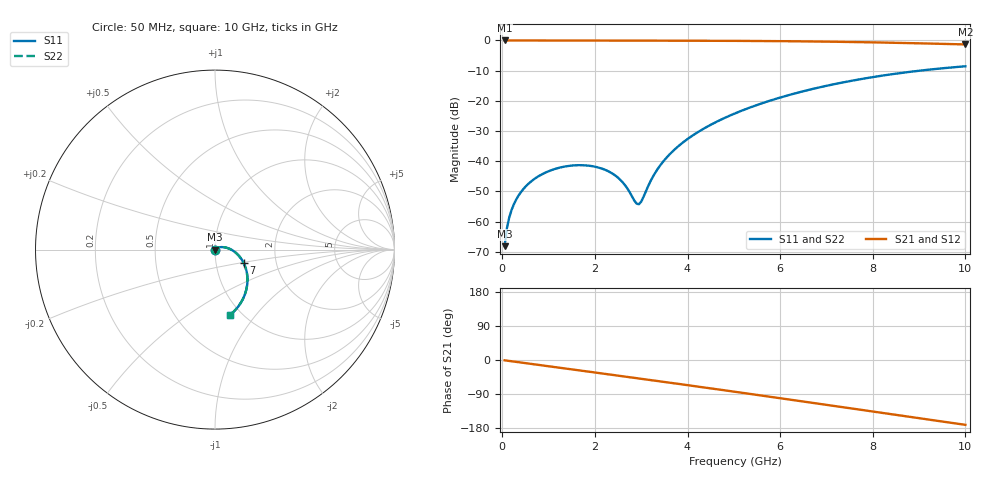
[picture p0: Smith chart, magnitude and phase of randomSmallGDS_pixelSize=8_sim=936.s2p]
! freq	dB(S11)	phase(S11)	dB(S12)	phase(S12)
!  dB(S21)	phase(S21)	dB(S22)	phase(S22)
!S-par simulation data
#  GHz  S  DB  R 50
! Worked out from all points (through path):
!   200 points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, 50 MHz to 10 GHz, reference 50 ohm
!   highest |S21| = 0.00 dB at 50 MHz (marker M1); lowest = -1.3 dB at 10 GHz (marker M2)
!   group delay of S21, straight-line fit = 47.7 ps
!   lowest |S11| = -68.1 dB at 50 MHz (marker M3), VSWR 1.00, Z = 50 - j0.0391 ohm
!   |S11| at or under -10 dB: start of sweep to 9.018 GHz
!   |S22| runs from -68.1 to -8.6 dB; largest |S21 - S12| = 0
!   S11 on the Smith chart (normalised r, x): 50 MHz: 1.00, -0.00; 7 GHz: 1.36, -0.21; 10 GHz: 0.89, -0.75
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0.05  -68.14 -87.0  -0.00 -0.8  -0.00 -0.8  -68.14 -87.0
0.1  -62.14 -90.0  -0.00 -1.7  -0.00 -1.7  -62.14 -89.9
0.2  -56.16 -92.9  -0.00 -3.3  -0.00 -3.3  -56.16 -92.9
0.35  -51.39 -96.2  -0.00 -5.8  -0.00 -5.8  -51.39 -96.2
0.5  -48.44 -99.3  -0.01 -8.3  -0.01 -8.3  -48.44 -99.3
0.75  -45.28 -104.2  -0.01 -12.4  -0.01 -12.4  -45.28 -104.2
1.05  -43.02 -110.2  -0.02 -17.3  -0.02 -17.3  -43.02 -110.1
1.75  -41.33 -124.6  -0.03 -28.9  -0.03 -28.9  -41.33 -124.5
2.15  -42.44 -134.6  -0.04 -35.5  -0.04 -35.5  -42.44 -134.4
2.45  -44.85 -145.2  -0.04 -40.4  -0.04 -40.4  -44.86 -144.8
2.65  -47.93 -157.8  -0.05 -43.7  -0.05 -43.7  -47.97 -157.2
2.9  -54.06 150.1  -0.05 -47.9  -0.05 -47.9  -54.27 150.6
2.95  -54.25 128.8  -0.05 -48.7  -0.05 -48.7  -54.50 128.7
3.25  -45.19 59.9  -0.06 -53.7  -0.06 -53.7  -45.24 59.2
3.4  -41.59 50.1  -0.06 -56.2  -0.06 -56.2  -41.61 49.6
3.7  -36.41 38.9  -0.07 -61.3  -0.07 -61.3  -36.42 38.6
4.05  -32.10 30.0  -0.08 -67.2  -0.08 -67.2  -32.11 29.7
5.05  -24.00 10.0  -0.14 -84.3  -0.14 -84.3  -24.00 9.8
6.7  -16.07 -19.9  -0.33 -113.1  -0.33 -113.1  -16.07 -20.0
7  -15.02 -25.3  -0.39 -118.4  -0.39 -118.4  -15.02 -25.4
8.35  -11.32 -49.0  -0.73 -142.3  -0.73 -142.3  -11.32 -49.1
10  -8.56 -77.0  -1.32 -171.1  -1.32 -171.1  -8.56 -77.1
